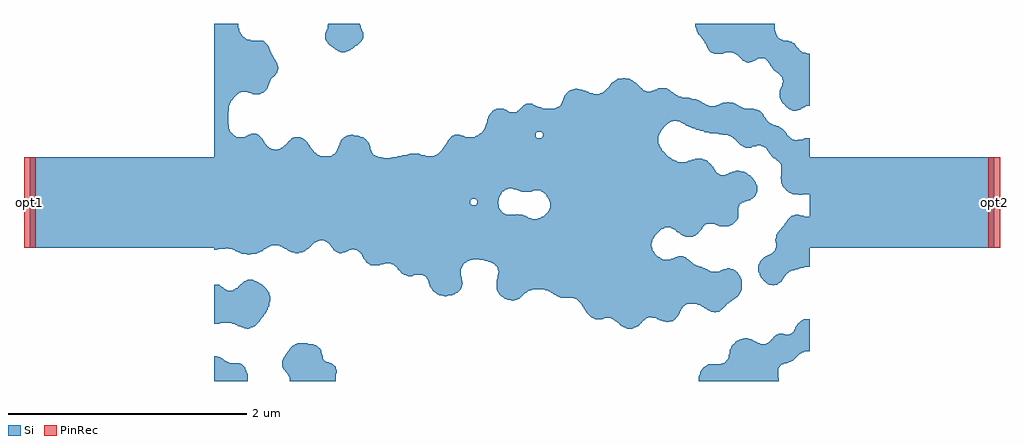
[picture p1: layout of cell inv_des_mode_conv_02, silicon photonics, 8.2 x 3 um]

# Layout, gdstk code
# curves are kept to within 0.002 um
import gdstk
lib = gdstk.Library(unit=1e-6, precision=1e-09)
def R(c, l, rs):  # rectangles x0, y0, x1, y1
    for r in rs: c.add(gdstk.rectangle(r[:2], r[2:], *l))
def P(c, l, *ps):  # polygons
    for p in ps: c.add(gdstk.Polygon(p, *l))
Si = (1, 0)
PinRec = (1, 10)

inv_des_mode_conv_02 = lib.new_cell('inv_des_mode_conv_02')
R(inv_des_mode_conv_02, Si, [(-4.05,-0.38,-2.5,0.38), (2.5,-0.38,4.05,0.38)])
P(inv_des_mode_conv_02, Si, [(-1.42,1.261),(-1.44,1.264),(-1.447,1.27),(-1.46,1.271),(-1.47,1.28),(-1.48,1.282),(-1.51,1.31),(-1.52,1.314),(-1.53,1.323),(-1.547,1.34),(-1.568,1.37),(-1.569,1.42),(-1.56,1.435),(-1.558,1.45),(-1.55,1.459),(-1.545,1.5),(-1.278,1.5),(-1.27,1.466),(-1.264,1.46),(-1.26,1.444),(-1.251,1.43),(-1.247,1.4),(-1.256,1.37),(-1.262,1.36),(-1.29,1.331),(-1.32,1.311),(-1.34,1.292),(-1.35,1.29),(-1.36,1.281),(-1.38,1.271),(-1.392,1.27),(-1.4,1.263)],
  [(2.36,0.771),(2.345,0.78),(2.33,0.783),(2.32,0.791),(2.262,0.85),(2.261,0.86),(2.252,0.87),(2.247,0.91),(2.252,0.95),(2.26,0.958),(2.261,0.97),(2.27,0.98),(2.272,1),(2.28,1.02),(2.271,1.05),(2.22,1.1),(2.21,1.104),(2.193,1.12),(2.181,1.14),(2.171,1.15),(2.161,1.17),(2.136,1.2),(2.12,1.211),(2.07,1.211),(2.047,1.2),(2.04,1.193),(2.028,1.19),(2.02,1.182),(2,1.18),(1.99,1.174),(1.98,1.175),(1.972,1.18),(1.96,1.181),(1.949,1.19),(1.94,1.193),(1.88,1.251),(1.87,1.251),(1.856,1.26),(1.789,1.26),(1.77,1.251),(1.69,1.252),(1.681,1.26),(1.67,1.263),(1.653,1.28),(1.65,1.29),(1.641,1.3),(1.64,1.309),(1.631,1.32),(1.63,1.33),(1.621,1.34),(1.62,1.35),(1.561,1.42),(1.56,1.43),(1.551,1.44),(1.55,1.46),(1.543,1.47),(1.541,1.5),(2.209,1.5),(2.21,1.439),(2.218,1.43),(2.22,1.409),(2.229,1.4),(2.23,1.393),(2.24,1.38),(2.256,1.37),(2.27,1.367),(2.28,1.359),(2.32,1.358),(2.335,1.35),(2.35,1.349),(2.36,1.34),(2.37,1.336),(2.386,1.32),(2.39,1.31),(2.41,1.288),(2.442,1.26),(2.46,1.259),(2.5,1.25),(2.5,0.812),(2.47,0.811),(2.46,0.802),(2.45,0.801),(2.44,0.791),(2.43,0.791),(2.42,0.781),(2.41,0.781),(2.4,0.773)],
  [(2.19,-0.696),(2.177,-0.69),(2.15,-0.686),(2.12,-0.662),(2.091,-0.63),(2.09,-0.62),(2.081,-0.61),(2.08,-0.595),(2.071,-0.58),(2.072,-0.52),(2.08,-0.511),(2.081,-0.5),(2.13,-0.452),(2.14,-0.451),(2.15,-0.442),(2.164,-0.44),(2.17,-0.434),(2.182,-0.43),(2.21,-0.402),(2.212,-0.39),(2.22,-0.374),(2.22,-0.344),(2.215,-0.33),(2.213,-0.31),(2.214,-0.3),(2.22,-0.291),(2.222,-0.27),(2.231,-0.26),(2.241,-0.24),(2.281,-0.2),(2.291,-0.18),(2.31,-0.158),(2.312,-0.15),(2.34,-0.121),(2.35,-0.113),(2.39,-0.101),(2.41,-0.102),(2.422,-0.11),(2.45,-0.112),(2.46,-0.12),(2.5,-0.121),(2.5,-0.539),(2.461,-0.54),(2.45,-0.548),(2.423,-0.55),(2.41,-0.558),(2.38,-0.56),(2.37,-0.568),(2.35,-0.569),(2.34,-0.578),(2.33,-0.579),(2.29,-0.619),(2.288,-0.63),(2.27,-0.65),(2.266,-0.66),(2.25,-0.676),(2.239,-0.68),(2.23,-0.689),(2.211,-0.69),(2.2,-0.696)],
  [(-2.23,-1.059),(-2.25,-1.055),(-2.256,-1.05),(-2.28,-1.046),(-2.286,-1.04),(-2.3,-1.038),(-2.31,-1.029),(-2.32,-1.028),(-2.33,-1.019),(-2.35,-1.017),(-2.36,-1.009),(-2.43,-1.009),(-2.442,-1.01),(-2.46,-1.018),(-2.5,-1.019),(-2.5,-0.69),(-2.46,-0.693),(-2.44,-0.71),(-2.43,-0.712),(-2.411,-0.73),(-2.4,-0.731),(-2.39,-0.74),(-2.35,-0.741),(-2.34,-0.733),(-2.328,-0.73),(-2.32,-0.722),(-2.311,-0.72),(-2.26,-0.671),(-2.25,-0.663),(-2.237,-0.66),(-2.23,-0.653),(-2.17,-0.652),(-2.16,-0.661),(-2.15,-0.661),(-2.14,-0.67),(-2.13,-0.671),(-2.12,-0.681),(-2.1,-0.691),(-2.052,-0.74),(-2.05,-0.75),(-2.041,-0.76),(-2.04,-0.777),(-2.032,-0.79),(-2.031,-0.82),(-2.035,-0.84),(-2.041,-0.85),(-2.041,-0.87),(-2.05,-0.88),(-2.053,-0.9),(-2.06,-0.907),(-2.071,-0.93),(-2.081,-0.94),(-2.091,-0.96),(-2.11,-0.98),(-2.114,-0.99),(-2.16,-1.038),(-2.17,-1.04),(-2.18,-1.049),(-2.193,-1.05),(-2.2,-1.056)],
  [(1.571,-1.5),(1.571,-1.46),(1.573,-1.45),(1.58,-1.442),(1.583,-1.42),(1.61,-1.385),(1.63,-1.371),(1.639,-1.37),(1.65,-1.361),(1.752,-1.36),(1.76,-1.354),(1.78,-1.351),(1.8,-1.333),(1.82,-1.307),(1.823,-1.28),(1.83,-1.27),(1.833,-1.23),(1.84,-1.223),(1.842,-1.21),(1.89,-1.162),(1.9,-1.161),(1.91,-1.152),(1.93,-1.151),(1.95,-1.142),(1.98,-1.142),(1.99,-1.144),(2,-1.151),(2.02,-1.155),(2.063,-1.18),(2.08,-1.183),(2.088,-1.19),(2.131,-1.19),(2.14,-1.182),(2.15,-1.181),(2.165,-1.17),(2.21,-1.121),(2.22,-1.112),(2.23,-1.11),(2.24,-1.102),(2.28,-1.103),(2.296,-1.11),(2.31,-1.111),(2.326,-1.11),(2.35,-1.1),(2.361,-1.09),(2.37,-1.077),(2.371,-1.07),(2.38,-1.061),(2.381,-1.05),(2.39,-1.041),(2.392,-1.03),(2.43,-0.992),(2.44,-0.991),(2.45,-0.982),(2.5,-0.98),(2.5,-1.249),(2.459,-1.25),(2.45,-1.258),(2.44,-1.259),(2.43,-1.267),(2.42,-1.27),(2.36,-1.328),(2.35,-1.33),(2.34,-1.339),(2.327,-1.34),(2.32,-1.346),(2.289,-1.35),(2.28,-1.358),(2.268,-1.36),(2.257,-1.37),(2.24,-1.389),(2.24,-1.5)],
  [(-1.869,-1.5),(-1.87,-1.465),(-1.9,-1.42),(-1.926,-1.39),(-1.93,-1.36),(-1.927,-1.32),(-1.92,-1.312),(-1.916,-1.3),(-1.899,-1.28),(-1.896,-1.27),(-1.87,-1.24),(-1.858,-1.22),(-1.84,-1.202),(-1.8,-1.181),(-1.73,-1.181),(-1.72,-1.183),(-1.711,-1.19),(-1.67,-1.193),(-1.662,-1.2),(-1.65,-1.201),(-1.63,-1.211),(-1.603,-1.24),(-1.6,-1.272),(-1.592,-1.29),(-1.59,-1.312),(-1.574,-1.33),(-1.56,-1.34),(-1.54,-1.343),(-1.531,-1.35),(-1.52,-1.351),(-1.508,-1.36),(-1.5,-1.362),(-1.482,-1.38),(-1.48,-1.394),(-1.472,-1.41),(-1.473,-1.43),(-1.481,-1.45),(-1.481,-1.5)],
  [(-2.5,-1.5),(-2.5,-1.292),(-2.48,-1.293),(-2.468,-1.3),(-2.45,-1.301),(-2.44,-1.31),(-2.43,-1.311),(-2.408,-1.33),(-2.4,-1.332),(-2.392,-1.34),(-2.37,-1.351),(-2.3,-1.351),(-2.28,-1.354),(-2.241,-1.39),(-2.24,-1.4),(-2.231,-1.41),(-2.23,-1.428),(-2.222,-1.44),(-2.221,-1.5)],
  [(-2.22,-0.437),(-2.23,-0.436),(-2.241,-0.43),(-2.28,-0.427),(-2.288,-0.42),(-2.3,-0.419),(-2.309,-0.41),(-2.32,-0.409),(-2.33,-0.4),(-2.34,-0.399),(-2.353,-0.39),(-2.4,-0.385),(-2.465,-0.39),(-2.48,-0.396),(-2.5,-0.397),(-2.5,1.5),(-2.301,1.5),(-2.3,1.473),(-2.292,1.46),(-2.29,1.437),(-2.283,1.43),(-2.281,1.42),(-2.272,1.41),(-2.27,1.402),(-2.259,1.39),(-2.25,1.387),(-2.227,1.37),(-2.21,1.369),(-2.191,1.36),(-2.12,1.36),(-2.09,1.357),(-2.051,1.32),(-2.044,1.31),(-2.039,1.29),(-2.039,1.006),(-2.042,0.99),(-2.05,0.979),(-2.054,0.96),(-2.061,0.95),(-2.09,0.922),(-2.101,0.92),(-2.11,0.912),(-2.12,0.911),(-2.18,0.911),(-2.192,0.92),(-2.21,0.921),(-2.223,0.93),(-2.276,0.93),(-2.3,0.913),(-2.31,0.91),(-2.33,0.89),(-2.361,0.85),(-2.37,0.835),(-2.373,0.82),(-2.381,0.81),(-2.384,0.67),(-2.38,0.62),(-2.371,0.61),(-2.37,0.6),(-2.35,0.577),(-2.33,0.559),(-2.315,0.55),(-2.28,0.547),(-2.245,0.55),(-2.23,0.559),(-2.222,0.56),(-2.21,0.569),(-2.199,0.57),(-2.19,0.578),(-2.15,0.579),(-2.13,0.569),(-2.101,0.54),(-2.093,0.53),(-2.091,0.52),(-2.082,0.51),(-2.08,0.5),(-2.039,0.459),(-2.039,-0.369),(-2.06,-0.379),(-2.07,-0.389),(-2.078,-0.39),(-2.1,-0.408),(-2.11,-0.409),(-2.12,-0.419),(-2.134,-0.42),(-2.15,-0.429),(-2.183,-0.43),(-2.2,-0.436)],
  [(-2.039,1.006),(-2.039,1.29),(-2.031,1.28),(-2.031,1.27),(-2.023,1.26),(-2.02,1.247),(-2.013,1.24),(-2.01,1.228),(-2.002,1.22),(-2,1.21),(-1.983,1.19),(-1.981,1.18),(-1.972,1.17),(-1.97,1.153),(-1.962,1.14),(-1.962,1.12),(-1.97,1.106),(-1.974,1.09),(-2.021,1.04)],
  [(-2.039,0),(-2.039,0.459),(-2.024,0.45),(-1.99,0.444),(-1.95,0.449),(-1.94,0.458),(-1.93,0.46),(-1.85,0.539),(-1.83,0.549),(-1.78,0.549),(-1.76,0.539),(-1.75,0.53),(-1.74,0.527),(-1.715,0.5),(-1.711,0.49),(-1.693,0.47),(-1.691,0.46),(-1.672,0.44),(-1.66,0.422),(-1.63,0.399),(-1.62,0.399),(-1.611,0.39),(-1.6,0.389),(-1.56,0.387),(-1.52,0.39),(-1.48,0.42),(-1.478,0.43),(-1.47,0.438),(-1.467,0.45),(-1.46,0.457),(-1.459,0.47),(-1.45,0.481),(-1.448,0.5),(-1.44,0.508),(-1.437,0.52),(-1.41,0.548),(-1.403,0.55),(-1.403,0)],
  [(-1.81,-0.428),(-1.82,-0.426),(-1.829,-0.42),(-1.85,-0.419),(-1.864,-0.41),(-1.88,-0.405),(-1.9,-0.39),(-1.91,-0.388),(-1.936,-0.37),(-1.95,-0.367),(-1.96,-0.359),(-2.02,-0.359),(-2.039,-0.369),(-2.039,0),(-1.403,0),(-1.403,-0.418),(-1.42,-0.42),(-1.43,-0.427),(-1.45,-0.428),(-1.46,-0.424),(-1.496,-0.4),(-1.542,-0.34),(-1.56,-0.329),(-1.57,-0.327),(-1.58,-0.319),(-1.61,-0.319),(-1.622,-0.32),(-1.63,-0.327),(-1.644,-0.33),(-1.65,-0.336),(-1.66,-0.339),(-1.71,-0.387),(-1.73,-0.399),(-1.74,-0.409),(-1.75,-0.41),(-1.76,-0.419),(-1.78,-0.42),(-1.79,-0.427)],
  [(-1.403,0),(-1.403,0.55),(-1.39,0.559),(-1.374,0.56),(-1.36,0.567),(-1.34,0.568),(-1.33,0.567),(-1.317,0.56),(-1.28,0.558),(-1.27,0.55),(-1.25,0.547),(-1.202,0.5),(-1.2,0.483),(-1.191,0.47),(-1.19,0.449),(-1.182,0.44),(-1.18,0.427),(-1.173,0.42),(-1.17,0.409),(-1.16,0.399),(-1.15,0.396),(-1.144,0.39),(-1.13,0.387),(-1.12,0.379),(-1.09,0.378),(-1.072,0.37),(-1.029,0.37),(-1.01,0.378),(-0.97,0.38),(-0.96,0.388),(-0.929,0.39),(-0.92,0.397),(-0.877,0.4),(-0.87,0.405),(-0.85,0.409),(-0.78,0.408),(-0.77,0.405),(-0.765,0.4),(-0.73,0.396),(-0.72,0.389),(-0.66,0.389),(-0.62,0.409),(-0.58,0.45),(-0.577,0.46),(-0.57,0.467),(-0.57,0)],
  [(-0.57,-0.787),(-0.587,-0.78),(-0.61,-0.779),(-0.621,-0.77),(-0.63,-0.769),(-0.64,-0.76),(-0.65,-0.756),(-0.666,-0.74),(-0.67,-0.73),(-0.686,-0.71),(-0.69,-0.689),(-0.698,-0.68),(-0.7,-0.66),(-0.709,-0.65),(-0.71,-0.64),(-0.73,-0.619),(-0.745,-0.61),(-0.82,-0.609),(-0.84,-0.618),(-0.88,-0.617),(-0.889,-0.61),(-0.9,-0.609),(-0.92,-0.599),(-0.983,-0.53),(-1.019,-0.51),(-1.062,-0.51),(-1.07,-0.516),(-1.1,-0.52),(-1.11,-0.528),(-1.12,-0.529),(-1.19,-0.527),(-1.225,-0.5),(-1.23,-0.49),(-1.248,-0.47),(-1.249,-0.46),(-1.258,-0.45),(-1.259,-0.44),(-1.28,-0.416),(-1.3,-0.399),(-1.33,-0.393),(-1.37,-0.399),(-1.38,-0.408),(-1.39,-0.409),(-1.403,-0.418),(-1.403,0),(-0.57,0)],
  [(-0.56,-0.788),(-0.57,-0.787),(-0.57,0),(-0.351,0),(-0.35,-0.011),(-0.34,-0.021),(-0.32,-0.024),(-0.3,-0.019),(-0.29,-0.001),(-0.29,0.01),(-0.307,0.03),(-0.33,0.031),(-0.337,0.03),(-0.35,0.016),(-0.351,0),(-0.57,0),(-0.57,0.467),(-0.559,0.48),(-0.557,0.49),(-0.54,0.51),(-0.538,0.52),(-0.5,0.559),(-0.49,0.56),(-0.48,0.568),(-0.44,0.569),(-0.42,0.559),(-0.4,0.556),(-0.39,0.549),(-0.32,0.549),(-0.3,0.559),(-0.29,0.56),(-0.27,0.578),(-0.262,0.58),(-0.25,0.59),(-0.24,0.604),(-0.239,0.61),(-0.229,0.62),(-0.228,0.63),(-0.219,0.64),(-0.218,0.66),(-0.21,0.672),(-0.208,0.7),(-0.2,0.709),(-0.199,0.72),(-0.189,0.74),(-0.15,0.779),(-0.141,0.78),(-0.13,0.789),(-0.111,0.789),(-0.111,0.03),(-0.117,0),(-0.111,-0.03),(-0.111,-0.759),(-0.119,-0.75),(-0.129,-0.73),(-0.129,-0.65),(-0.119,-0.63),(-0.119,-0.61),(-0.113,-0.58),(-0.12,-0.548),(-0.146,-0.52),(-0.16,-0.509),(-0.17,-0.508),(-0.18,-0.499),(-0.2,-0.497),(-0.21,-0.489),(-0.23,-0.488),(-0.239,-0.48),(-0.31,-0.476),(-0.351,-0.48),(-0.36,-0.488),(-0.37,-0.489),(-0.38,-0.499),(-0.4,-0.51),(-0.421,-0.54),(-0.422,-0.55),(-0.43,-0.559),(-0.431,-0.61),(-0.422,-0.63),(-0.42,-0.664),(-0.416,-0.67),(-0.415,-0.68),(-0.42,-0.694),(-0.421,-0.71),(-0.431,-0.73),(-0.46,-0.758),(-0.471,-0.76),(-0.48,-0.769),(-0.49,-0.769),(-0.5,-0.778),(-0.532,-0.78),(-0.54,-0.785)],
  [(-0.111,0.04),(-0.111,0.56),(0.199,0.56),(0.215,0.54),(0.24,0.539),(0.25,0.545),(0.26,0.558),(0.261,0.57),(0.26,0.576),(0.25,0.59),(0.23,0.594),(0.209,0.59),(0.2,0.578),(0.199,0.56),(-0.111,0.56),(-0.111,0.789),(-0.07,0.788),(-0.062,0.78),(-0.05,0.779),(-0.04,0.769),(-0.03,0.768),(-0.021,0.76),(0.01,0.757),(0.04,0.759),(0.1,0.818),(0.108,0.82),(0.12,0.829),(0.17,0.828),(0.179,0.82),(0.19,0.819),(0.202,0.81),(0.22,0.805),(0.226,0.8),(0.24,0.799),(0.256,0.79),(0.301,0.789),(0.301,0.04),(0.291,0.06),(0.26,0.091),(0.25,0.092),(0.24,0.101),(0.179,0.1),(0.17,0.093),(0.16,0.091),(0.08,0.091),(0.07,0.093),(0.06,0.101),(0.05,0.101),(0.036,0.11),(0.01,0.113),(0,0.12),(-0.022,0.12),(-0.04,0.111),(-0.05,0.111),(-0.08,0.09),(-0.101,0.06),(-0.102,0.05)],
  [(0,-0.825),(-0.008,-0.82),(-0.04,-0.817),(-0.047,-0.81),(-0.06,-0.808),(-0.08,-0.79),(-0.09,-0.787),(-0.107,-0.77),(-0.111,-0.759),(-0.111,-0.04),(-0.1,-0.062),(-0.09,-0.073),(-0.072,-0.09),(-0.06,-0.093),(-0.05,-0.101),(0.08,-0.101),(0.09,-0.103),(0.097,-0.11),(0.11,-0.111),(0.12,-0.121),(0.13,-0.121),(0.14,-0.131),(0.16,-0.134),(0.17,-0.141),(0.212,-0.14),(0.22,-0.133),(0.241,-0.13),(0.25,-0.121),(0.259,-0.12),(0.301,-0.08),(0.301,-0.739),(0.28,-0.738),(0.27,-0.73),(0.26,-0.729),(0.172,-0.73),(0.16,-0.738),(0.141,-0.74),(0.12,-0.757),(0.11,-0.76),(0.06,-0.809),(0.052,-0.81),(0.04,-0.819)],
  [(0.97,-1.059),(0.96,-1.056),(0.953,-1.05),(0.94,-1.049),(0.93,-1.04),(0.92,-1.038),(0.879,-1),(0.87,-0.996),(0.85,-0.979),(0.84,-0.978),(0.831,-0.97),(0.779,-0.97),(0.77,-0.977),(0.76,-0.979),(0.69,-0.977),(0.682,-0.97),(0.67,-0.967),(0.631,-0.93),(0.623,-0.92),(0.621,-0.91),(0.604,-0.89),(0.601,-0.88),(0.591,-0.87),(0.581,-0.85),(0.54,-0.81),(0.52,-0.806),(0.51,-0.799),(0.41,-0.799),(0.4,-0.796),(0.393,-0.79),(0.38,-0.788),(0.372,-0.78),(0.35,-0.769),(0.34,-0.759),(0.33,-0.757),(0.323,-0.75),(0.31,-0.747),(0.301,-0.739),(0.301,-0.08),(0.31,-0.07),(0.311,-0.06),(0.321,-0.04),(0.32,0),(0.312,0.01),(0.31,0.026),(0.301,0.04),(0.301,0.789),(0.36,0.789),(0.4,0.809),(0.41,0.819),(0.413,0.83),(0.42,0.837),(0.422,0.85),(0.431,0.86),(0.431,0.87),(0.451,0.91),(0.48,0.939),(0.489,0.94),(0.5,0.949),(0.52,0.95),(0.53,0.956),(0.55,0.956),(0.563,0.95),(0.59,0.949),(0.6,0.94),(0.62,0.937),(0.627,0.93),(0.64,0.929),(0.65,0.92),(0.68,0.917),(0.689,0.91),(0.731,0.91),(0.74,0.917),(0.761,0.92),(0.773,0.93),(0.8,0.957),(0.834,1),(0.87,1.029),(0.88,1.029),(0.89,1.038),(0.921,1.04),(0.93,1.045),(0.94,1.046),(0.961,1.04),(0.99,1.038),(1,1.029),(1.01,1.028),(1.03,1.01),(1.04,1.006),(1.085,0.96),(1.09,0.958),(1.09,-1.008),(1.06,-1.038),(1.052,-1.04),(1.04,-1.049),(1.03,-1.05),(1.02,-1.058)],
  [(1.09,-1.008),(1.09,0.958),(1.109,0.94),(1.13,0.936),(1.139,0.93),(1.161,0.93),(1.17,0.936),(1.194,0.94),(1.2,0.946),(1.22,0.95),(1.23,0.959),(1.3,0.959),(1.309,0.95),(1.32,0.948),(1.34,0.93),(1.36,0.919),(1.38,0.9),(1.39,0.899),(1.4,0.89),(1.41,0.889),(1.41,0.681),(1.37,0.688),(1.333,0.68),(1.292,0.65),(1.249,0.6),(1.248,0.59),(1.239,0.58),(1.239,0.57),(1.23,0.559),(1.229,0.51),(1.23,0.499),(1.238,0.49),(1.24,0.475),(1.258,0.45),(1.26,0.44),(1.31,0.389),(1.32,0.38),(1.33,0.377),(1.35,0.359),(1.36,0.358),(1.37,0.349),(1.38,0.349),(1.393,0.34),(1.41,0.339),(1.41,-0.259),(1.398,-0.25),(1.39,-0.248),(1.356,-0.22),(1.34,-0.216),(1.33,-0.209),(1.29,-0.209),(1.27,-0.219),(1.26,-0.22),(1.199,-0.28),(1.18,-0.312),(1.179,-0.33),(1.17,-0.349),(1.17,-0.364),(1.178,-0.38),(1.18,-0.401),(1.189,-0.41),(1.199,-0.43),(1.22,-0.451),(1.24,-0.461),(1.25,-0.471),(1.26,-0.471),(1.27,-0.48),(1.331,-0.48),(1.34,-0.473),(1.36,-0.47),(1.37,-0.461),(1.385,-0.46),(1.4,-0.451),(1.41,-0.451),(1.409,-0.93),(1.399,-0.94),(1.398,-0.95),(1.35,-0.997),(1.31,-1.004),(1.296,-1),(1.27,-0.999),(1.256,-0.99),(1.24,-0.988),(1.23,-0.979),(1.22,-0.979),(1.21,-0.97),(1.17,-0.966),(1.132,-0.97)],
  [(1.67,0.581),(1.66,0.583),(1.652,0.59),(1.62,0.592),(1.609,0.6),(1.58,0.602),(1.572,0.61),(1.55,0.611),(1.54,0.62),(1.52,0.622),(1.511,0.63),(1.5,0.631),(1.46,0.651),(1.45,0.66),(1.44,0.661),(1.43,0.671),(1.42,0.672),(1.41,0.681),(1.41,0.889),(1.42,0.887),(1.429,0.88),(1.49,0.878),(1.51,0.87),(1.54,0.869),(1.55,0.866),(1.556,0.86),(1.57,0.858),(1.58,0.849),(1.59,0.848),(1.612,0.83),(1.62,0.829),(1.63,0.82),(1.65,0.817),(1.658,0.81),(1.69,0.809),(1.69,0.581)],
  [(1.46,-0.289),(1.446,-0.28),(1.43,-0.276),(1.41,-0.259),(1.41,0.339),(1.467,0.34),(1.48,0.349),(1.5,0.35),(1.51,0.359),(1.532,0.36),(1.54,0.367),(1.55,0.369),(1.6,0.368),(1.609,0.36),(1.63,0.356),(1.64,0.349),(1.689,0.3),(1.69,-0.179),(1.64,-0.179),(1.62,-0.189),(1.6,-0.21),(1.598,-0.22),(1.54,-0.279),(1.529,-0.28),(1.52,-0.288)],
  [(1.41,-0.919),(1.41,-0.451),(1.43,-0.451),(1.44,-0.452),(1.449,-0.46),(1.46,-0.461),(1.53,-0.521),(1.54,-0.522),(1.548,-0.53),(1.56,-0.531),(1.573,-0.54),(1.59,-0.541),(1.604,-0.55),(1.62,-0.552),(1.628,-0.56),(1.64,-0.562),(1.648,-0.57),(1.66,-0.572),(1.669,-0.58),(1.69,-0.581),(1.69,-0.919),(1.67,-0.916),(1.664,-0.91),(1.64,-0.899),(1.63,-0.889),(1.62,-0.888),(1.596,-0.87),(1.58,-0.865),(1.575,-0.86),(1.56,-0.859),(1.549,-0.85),(1.54,-0.849),(1.48,-0.849),(1.47,-0.856),(1.457,-0.86),(1.44,-0.872),(1.419,-0.9),(1.418,-0.91)],
  [(1.928,0.481),(1.92,0.483),(1.85,0.551),(1.84,0.554),(1.834,0.56),(1.82,0.562),(1.811,0.57),(1.77,0.571),(1.74,0.575),(1.726,0.58),(1.69,0.581),(1.69,0.809),(1.705,0.81),(1.72,0.819),(1.736,0.82),(1.75,0.829),(1.76,0.829),(1.77,0.837),(1.82,0.843),(1.86,0.838),(1.868,0.83),(1.88,0.828),(1.888,0.82),(1.9,0.817),(1.907,0.81),(1.928,0.8)],
  [(1.78,-0.201),(1.74,-0.199),(1.726,-0.19),(1.71,-0.188),(1.701,-0.18),(1.69,-0.179),(1.69,0.293),(1.72,0.25),(1.76,0.229),(1.788,0.23),(1.8,0.238),(1.816,0.24),(1.83,0.249),(1.841,0.25),(1.85,0.259),(1.872,0.26),(1.88,0.266),(1.89,0.268),(1.91,0.268),(1.928,0.259),(1.928,-0.006),(1.919,-0.01),(1.91,-0.02),(1.907,-0.04),(1.9,-0.056),(1.903,-0.1),(1.897,-0.14),(1.85,-0.188),(1.837,-0.19),(1.83,-0.196),(1.82,-0.199)],
  [(1.7,-0.92),(1.69,-0.919),(1.69,-0.581),(1.741,-0.58),(1.75,-0.572),(1.766,-0.57),(1.78,-0.561),(1.799,-0.56),(1.81,-0.553),(1.83,-0.553),(1.84,-0.56),(1.86,-0.561),(1.897,-0.59),(1.9,-0.598),(1.918,-0.62),(1.92,-0.636),(1.928,-0.648),(1.928,-0.74),(1.92,-0.749),(1.919,-0.76),(1.89,-0.796),(1.88,-0.8),(1.86,-0.819),(1.852,-0.82),(1.83,-0.839),(1.81,-0.85),(1.77,-0.893),(1.74,-0.917)],
  [(2.42,0.065),(2.396,0.07),(2.36,0.071),(2.35,0.074),(2.344,0.08),(2.33,0.082),(2.272,0.14),(2.27,0.153),(2.263,0.16),(2.261,0.17),(2.261,0.26),(2.264,0.28),(2.261,0.32),(2.233,0.35),(2.181,0.39),(2.164,0.41),(2.161,0.42),(2.143,0.44),(2.14,0.45),(2.13,0.46),(2.114,0.47),(2.1,0.473),(2.091,0.48),(2.059,0.48),(2.05,0.473),(2.02,0.47),(2.01,0.462),(1.97,0.461),(1.96,0.462),(1.949,0.47),(1.94,0.471),(1.928,0.481),(1.928,0.8),(1.94,0.798),(1.95,0.79),(2.03,0.788),(2.046,0.78),(2.06,0.779),(2.08,0.769),(2.109,0.74),(2.117,0.73),(2.119,0.72),(2.136,0.7),(2.139,0.69),(2.16,0.669),(2.17,0.667),(2.177,0.66),(2.19,0.657),(2.197,0.65),(2.21,0.649),(2.225,0.64),(2.24,0.639),(2.25,0.629),(2.26,0.628),(2.299,0.59),(2.319,0.56),(2.34,0.539),(2.355,0.53),(2.39,0.525),(2.44,0.529),(2.46,0.538),(2.5,0.539),(2.5,0.07),(2.453,0.07)],
  [(1.928,-0.006),(1.928,0.259),(1.94,0.259),(1.95,0.258),(1.958,0.25),(1.97,0.248),(1.991,0.23),(2,0.227),(2.027,0.2),(2.03,0.191),(2.048,0.17),(2.05,0.155),(2.059,0.14),(2.059,0.09),(2.057,0.08),(2.05,0.073),(2.046,0.06),(2.02,0.033),(2.009,0.03),(2,0.021),(1.987,0.02),(1.98,0.013),(1.957,0.01)],
  [(1.928,-0.74),(1.928,-0.648),(1.929,-0.65),(1.929,-0.68),(1.93,-0.69),(1.93,-0.7),(1.929,-0.71),(1.929,-0.73)])
inv_des_mode_conv_02.add(gdstk.FlexPath([(-4,0),(-4.1,0)], 0.76, ends="flush", simple_path=True, layer=1, datatype=10))  # PinRec
inv_des_mode_conv_02.add(gdstk.FlexPath([(4,0),(4.1,0)], 0.76, ends="flush", simple_path=True, layer=1, datatype=10))  # PinRec
inv_des_mode_conv_02.add(gdstk.Label('opt2', (4.05,0), layer=1, texttype=10))
inv_des_mode_conv_02.add(gdstk.Label('opt1', (-4.05,0), layer=1, texttype=10))

lib.write_gds('inv_des_mode_conv_02.gds')
